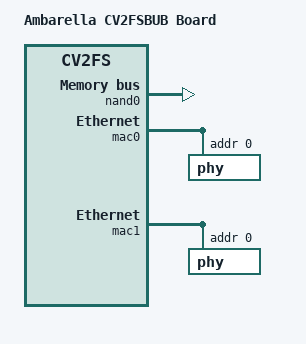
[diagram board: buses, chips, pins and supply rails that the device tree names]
/*
 * Copyright (C) 2013 Ambarella,Inc. - http://www.ambarella.com/
 * Author: Cao Rongrong <rrcao@ambarella.com>
 *
 * This program is free software; you can redistribute it and/or modify
 * it under the terms of the GNU General Public License version 2 as
 * published by the Free Software Foundation.
 */
/dts-v1/;

/include/ "ambarella-cv2fs.dtsi"

/ {
	model = "Ambarella CV2FSBUB Board";
	compatible = "ambarella,cv2fsbub", "ambarella,cv2fs";

	aliases {
		flexidag_sys = &cv_sys_mem;
		flexidag_rtos = &cv_rtos_mem;
		scheduler = &sub_scheduler;
		dsp_prot_buf = &dsp_prot_buf;
		dsp_work_buf = &dsp_work_buf;
		dsp_bin_buf = &dsp_bin_buf;
		dsp_stat_buf = &dsp_stat_buf;
		dsp_data_buf = &dsp_data_buf;
		dsp_log_buf = &dsp_log_buf;
		dsp = &dsp;
	};

	chosen {
	};

	sub_scheduler: sub_scheduler0 {
		compatible = "ambarella,sub-scheduler";
		interrupts = <0 161 0x4>;
		memory-region = <&cv_sys_mem>;
		memory-region1 = <&cv_rtos_mem>;
	};

	dsp: dspdrv {
		compatible = "ambarella,dspdrv";
		memory-region = <&dsp_prot_buf>;
		memory-region1 = <&dsp_work_buf>;
		memory-region2 = <&dsp_bin_buf>;
		memory-region3 = <&dsp_stat_buf>;
		memory-region4 = <&dsp_data_buf>;
		memory-region5 = <&dsp_log_buf>;
		interrupts = <0 145 0x1 0 146 0x1 0 147 0x1 0 148 0x1>;
        interrupt-names = "vdsp0", "vdsp1", "vdsp2", "vdsp3";

		/* node for vin0 controller */
		dspvin0 {
			compatible = "ambarella,dspvin";
			interrupts = <0 107 0x1 0 109 0x1>;
			interrupt-names = "arm_sof", "arm_last_pixel";
		};

		/* node for vin1 controller */
		dspvin1 {
			compatible = "ambarella,dspvin";
			interrupts = <0 112 0x1 0 114 0x1>;
			interrupt-names = "arm_sof", "arm_last_pixel";
		};

		/* node for vin2 controller */
		dspvin2 {
			compatible = "ambarella,dspvin";
			interrupts = <0 117 0x1 0 118 0x1>;
			interrupt-names = "arm_sof", "arm_last_pixel";
		};

		/* node for vin3 controller */
		dspvin3 {
			compatible = "ambarella,dspvin";
			interrupts = <0 121 0x1 0 123 0x1>;
			interrupt-names = "arm_sof", "arm_last_pixel";
		};

		/* node for vin4 controller */
		dspvin4 {
			compatible = "ambarella,dspvin";
			interrupts = <0 126 0x1 0 128 0x1>;
			interrupt-names = "arm_sof", "arm_last_pixel";
		};

		/* node for vin5 controller */
		dspvin5 {
			compatible = "ambarella,dspvin";
			interrupts = <0 142 0x1 0 143 0x1>;
			interrupt-names = "arm_sof", "arm_last_pixel";
		};

		/* node for vout0 controller */
		dspvout0 {
			compatible = "ambarella,dspvout";
			interrupts = <0 88 0x1>;
			interrupt-names = "arm_vout_a";
		};

		/* node for vout1 controller */
		dspvout1 {
			compatible = "ambarella,dspvout";
			interrupts = <0 87 0x1>;
			interrupt-names = "arm_vout_b";
		};
	};

	reserved-memory {
		device_type = "reserved-memory";
		cv_sys_mem: flexidag_sys {
		};
		cv_rtos_mem: flexidag_rtos {
		};
		dsp_prot_buf: dsp_prot_buf {
		};
		dsp_work_buf: dsp_work_buf {
		};
		dsp_bin_buf: dsp_bin_buf {
		};
		dsp_stat_buf: dsp_stat_buf {
		};
		dsp_data_buf: dsp_data_buf {
		};
		dsp_log_buf: dsp_log_buf {
		};
	};

	ahb@e0000000 {
		nand0: nand@e0002000 {
			status = "ok";
		};

		sdmmc0: sdmmc0@e0004000 { /* SDHC */
			max-frequency = <12000000>;
		};

		mac0: ethernet@e000e000 {
			amb,tx-clk-invert;
			phy@0 {
				reg = <0>;
			};
		};

		mac1: ethernet@e0032000 {
			amb,tx-clk-invert;
			phy@0 {
				reg = <0>;
			};
		};
	};

	/* for profiling, see aipc_profile.c */
	profile_timer {
		compatible = "ambarella,timer19";
		reg = <0xe4006088 0x4>;
	};

	ambalink {
		compatible = "simple-bus";
		#address-cells = <1>;
		#size-cells = <1>;

		aipc_mutex: ambarella-ipc-mutex {
			compatible = "ambarella,ipc-mutex";
			interrupts = <0 95 0x4>;
			amb,scr-regmap = <&scratchpad_syscon>;
		};

		/* must be consistent with ambalink_cfg.h */
		rproc0: ambarella-rproc {
			compatible = "ambarella,rproc";
			interrupts = <0 90 0x4>,	/* rvq_rx_irq, get rvq kick from rtos */
				     <0 91 0x4>;	/* svq_rx_irq, get svq ack from rtos */
			amb,scr-regmap = <&scratchpad_syscon>;
		};

		/* For RTOS as Master/Host, Linux as Client/Remote */
		rpclnt0: ambarella-rpclnt {
			compatible = "ambarella,rpclnt";
			interrupts = <0 90 0x4>,	/* rvq_rx_irq, get rvq kick from rtos */
				     <0 91 0x4>;	/* svq_rx_irq, get svq ack from rtos */
			amb,svq_kick = <92>;		/* svq_tx, C1_to_C0_kick */
			amb,rvq_ack  = <93>;		/* rvq_tx, C1_to_C0 ack */
			amb,scr-regmap = <&scratchpad_syscon>;
		};
	};

	/delete-node/ iav;
	/delete-node/ bogus_bus;
};
